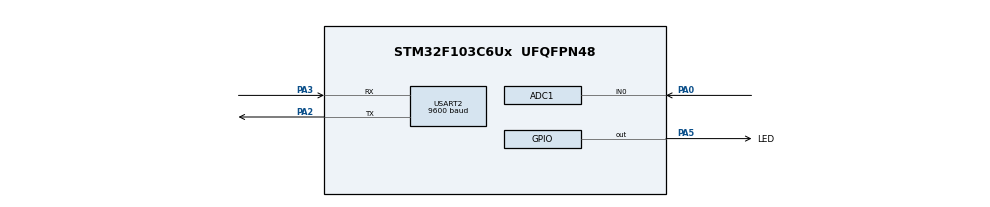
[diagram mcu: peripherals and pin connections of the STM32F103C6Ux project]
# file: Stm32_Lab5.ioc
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ADC1.Channel-0\#ChannelRegularConversion=ADC_CHANNEL_0
ADC1.ContinuousConvMode=ENABLE
ADC1.NbrOfConversionFlag=1
ADC1.Rank-0\#ChannelRegularConversion=1
ADC1.SamplingTime-0\#ChannelRegularConversion=ADC_SAMPLETIME_1CYCLE_5
ADC1.master=1
Mcu.Family=STM32F1
Mcu.Name=STM32F103C6Ux
Mcu.Package=UFQFPN48
NVIC.PriorityGroup=NVIC_PRIORITYGROUP_4
NVIC.TIM2_IRQn=true\:0\:0\:false\:false\:true\:true\:true\:true
NVIC.USART2_IRQn=true\:0\:0\:false\:false\:true\:true\:true\:true
PA0-WKUP.Signal=ADCx_IN0
PA2.Mode=Asynchronous
PA2.Signal=USART2_TX
PA3.Mode=Asynchronous
PA3.Signal=USART2_RX
PA5.GPIO_Label=LED
PA5.Signal=GPIO_Output
ProjectManager.HeapSize=0x200
ProjectManager.StackSize=0x400
ProjectManager.TargetToolchain=STM32CubeIDE
RCC.APB1Freq_Value=8000000
RCC.APB2Freq_Value=8000000
SH.ADCx_IN0.0=ADC1_IN0,IN0
TIM2.Period=9
TIM2.Prescaler=7999
USART2.BaudRate=9600
USART2.VirtualMode=VM_ASYNC
VP_TIM2_VS_ClockSourceINT.Mode=Internal
board=custom

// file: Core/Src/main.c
/* USER CODE BEGIN Header */
/**
  ******************************************************************************
  * @file           : main.c
  * @brief          : Main program body
  ******************************************************************************
  * @attention
  *
  * <h2><center>&copy; Copyright (c) 2023 STMicroelectronics.
  * All rights reserved.</center></h2>
  *
  * This software component is licensed by ST under BSD 3-Clause license,
  * the "License"; You may not use this file except in compliance with the
  * License. You may obtain a copy of the License at:
  *                        opensource.org/licenses/BSD-3-Clause
  *
  ******************************************************************************
  */
/* USER CODE END Header */
#include "main.h"

ADC_HandleTypeDef hadc1;

TIM_HandleTypeDef htim2;

UART_HandleTypeDef huart2;

void SystemClock_Config(void);
static void MX_GPIO_Init(void);
static void MX_ADC1_Init(void);
static void MX_USART2_UART_Init(void);
static void MX_TIM2_Init(void);

/* USER CODE BEGIN 0 */

uint8_t is_begin;//flag using indicate receive '!'
uint8_t temp = 0;//char receive from UART
uint8_t  buffer[MAX_BUFFER_SIZE];//buffer for save chars which receive from UART
uint8_t  index_buffer;//Initial 0 in main function
uint8_t buffer_flag = 0;//it will set when receive '#' after '!' and other bytes data

void HAL_UART_RxCpltCallback ( UART_HandleTypeDef * huart ){
	HAL_UART_Transmit(&huart2, &temp, 1, 50);
	if(huart->Instance == USART2){
		buffer[index_buffer++] = temp;
		if(index_buffer == 30) index_buffer = 0;

		if(temp == '!')
			is_begin = 1;

		if(temp == '#' && is_begin){
			buffer_flag = 1;
		}

		HAL_UART_Receive_IT(&huart2 ,&temp, 1);

	}
}
/* USER CODE END 0 */

int main(void)
{

  /* MCU Configuration--------------------------------------------------------*/

  /* Reset of all peripherals, Initializes the Flash interface and the Systick. */
  HAL_Init();

  /* Configure the system clock */
  SystemClock_Config();

  /* Initialize all configured peripherals */
  MX_GPIO_Init();
  MX_ADC1_Init();
  MX_USART2_UART_Init();
  MX_TIM2_Init();
  /* USER CODE BEGIN 2 */

  HAL_UART_Receive_IT(&huart2, &temp, 1);
  HAL_ADC_Start(&hadc1);
  HAL_TIM_Base_Start_IT(&htim2);

  index_buffer = 0;
  /* USER CODE END 2 */

  /* Infinite loop */
  /* USER CODE BEGIN WHILE */
  set_timer_blink_led(13);
  while (1)
  {
    /* USER CODE END WHILE */

    /* USER CODE BEGIN 3 */

	  if(buffer_flag == 1) {
		  command_parser_fsm();
		  buffer_flag = 0;
	  }
	  uart_communiation_fsm();

	  if(get_timer_blink_led()){
		  set_timer_blink_led(100);
		  HAL_GPIO_TogglePin(LED_GPIO_Port, LED_Pin);
	  }
  }
  /* USER CODE END 3 */
}

void SystemClock_Config(void)
{
  RCC_OscInitTypeDef RCC_OscInitStruct = {0};
  RCC_ClkInitTypeDef RCC_ClkInitStruct = {0};
  RCC_PeriphCLKInitTypeDef PeriphClkInit = {0};

  /** Initializes the RCC Oscillators according to the specified parameters
  * in the RCC_OscInitTypeDef structure.
  */
  RCC_OscInitStruct.OscillatorType = RCC_OSCILLATORTYPE_HSI;
  RCC_OscInitStruct.HSIState = RCC_HSI_ON;
  RCC_OscInitStruct.HSICalibrationValue = RCC_HSICALIBRATION_DEFAULT;
  RCC_OscInitStruct.PLL.PLLState = RCC_PLL_NONE;
  if (HAL_RCC_OscConfig(&RCC_OscInitStruct) != HAL_OK)
  {
    Error_Handler();
  }
  /** Initializes the CPU, AHB and APB buses clocks
  */
  RCC_ClkInitStruct.ClockType = RCC_CLOCKTYPE_HCLK|RCC_CLOCKTYPE_SYSCLK
                              |RCC_CLOCKTYPE_PCLK1|RCC_CLOCKTYPE_PCLK2;
  RCC_ClkInitStruct.SYSCLKSource = RCC_SYSCLKSOURCE_HSI;
  RCC_ClkInitStruct.AHBCLKDivider = RCC_SYSCLK_DIV1;
  RCC_ClkInitStruct.APB1CLKDivider = RCC_HCLK_DIV1;
  RCC_ClkInitStruct.APB2CLKDivider = RCC_HCLK_DIV1;

  if (HAL_RCC_ClockConfig(&RCC_ClkInitStruct, FLASH_LATENCY_0) != HAL_OK)
  {
    Error_Handler();
  }
  PeriphClkInit.PeriphClockSelection = RCC_PERIPHCLK_ADC;
  PeriphClkInit.AdcClockSelection = RCC_ADCPCLK2_DIV2;
  if (HAL_RCCEx_PeriphCLKConfig(&PeriphClkInit) != HAL_OK)
  {
    Error_Handler();
  }
}

static void MX_ADC1_Init(void)
{

  ADC_ChannelConfTypeDef sConfig = {0};

  /** Common config
  */
  hadc1.Instance = ADC1;
  hadc1.Init.ScanConvMode = ADC_SCAN_DISABLE;
  hadc1.Init.ContinuousConvMode = ENABLE;
  hadc1.Init.DiscontinuousConvMode = DISABLE;
  hadc1.Init.ExternalTrigConv = ADC_SOFTWARE_START;
  hadc1.Init.DataAlign = ADC_DATAALIGN_RIGHT;
  hadc1.Init.NbrOfConversion = 1;
  if (HAL_ADC_Init(&hadc1) != HAL_OK)
  {
    Error_Handler();
  }
  /** Configure Regular Channel
  */
  sConfig.Channel = ADC_CHANNEL_0;
  sConfig.Rank = ADC_REGULAR_RANK_1;
  sConfig.SamplingTime = ADC_SAMPLETIME_1CYCLE_5;
  if (HAL_ADC_ConfigChannel(&hadc1, &sConfig) != HAL_OK)
  {
    Error_Handler();
  }

}

static void MX_TIM2_Init(void)
{

  TIM_ClockConfigTypeDef sClockSourceConfig = {0};
  TIM_MasterConfigTypeDef sMasterConfig = {0};

  htim2.Instance = TIM2;
  htim2.Init.Prescaler = 7999;
  htim2.Init.CounterMode = TIM_COUNTERMODE_UP;
  htim2.Init.Period = 9;
  htim2.Init.ClockDivision = TIM_CLOCKDIVISION_DIV1;
  htim2.Init.AutoReloadPreload = TIM_AUTORELOAD_PRELOAD_DISABLE;
  if (HAL_TIM_Base_Init(&htim2) != HAL_OK)
  {
    Error_Handler();
  }
  sClockSourceConfig.ClockSource = TIM_CLOCKSOURCE_INTERNAL;
  if (HAL_TIM_ConfigClockSource(&htim2, &sClockSourceConfig) != HAL_OK)
  {
    Error_Handler();
  }
  sMasterConfig.MasterOutputTrigger = TIM_TRGO_RESET;
  sMasterConfig.MasterSlaveMode = TIM_MASTERSLAVEMODE_DISABLE;
  if (HAL_TIMEx_MasterConfigSynchronization(&htim2, &sMasterConfig) != HAL_OK)
  {
    Error_Handler();
  }

}

static void MX_USART2_UART_Init(void)
{

  huart2.Instance = USART2;
  huart2.Init.BaudRate = 9600;
  huart2.Init.WordLength = UART_WORDLENGTH_8B;
  huart2.Init.StopBits = UART_STOPBITS_1;
  huart2.Init.Parity = UART_PARITY_NONE;
  huart2.Init.Mode = UART_MODE_TX_RX;
  huart2.Init.HwFlowCtl = UART_HWCONTROL_NONE;
  huart2.Init.OverSampling = UART_OVERSAMPLING_16;
  if (HAL_UART_Init(&huart2) != HAL_OK)
  {
    Error_Handler();
  }

}

static void MX_GPIO_Init(void)
{
  GPIO_InitTypeDef GPIO_InitStruct = {0};

  /* GPIO Ports Clock Enable */
  __HAL_RCC_GPIOA_CLK_ENABLE();

  /*Configure GPIO pin Output Level */
  HAL_GPIO_WritePin(LED_GPIO_Port, LED_Pin, GPIO_PIN_RESET);

  /*Configure GPIO pin : LED_Pin */
  GPIO_InitStruct.Pin = LED_Pin;
  GPIO_InitStruct.Mode = GPIO_MODE_OUTPUT_PP;
  GPIO_InitStruct.Pull = GPIO_NOPULL;
  GPIO_InitStruct.Speed = GPIO_SPEED_FREQ_LOW;
  HAL_GPIO_Init(LED_GPIO_Port, &GPIO_InitStruct);

}

/* USER CODE BEGIN 4 */

void HAL_TIM_PeriodElapsedCallback(TIM_HandleTypeDef *htim){
	timer_run();
}

/* USER CODE END 4 */

void Error_Handler(void)
{
  __disable_irq();
  while (1)
  {
  }
}

/************************ (C) COPYRIGHT STMicroelectronics *****END OF FILE****/
